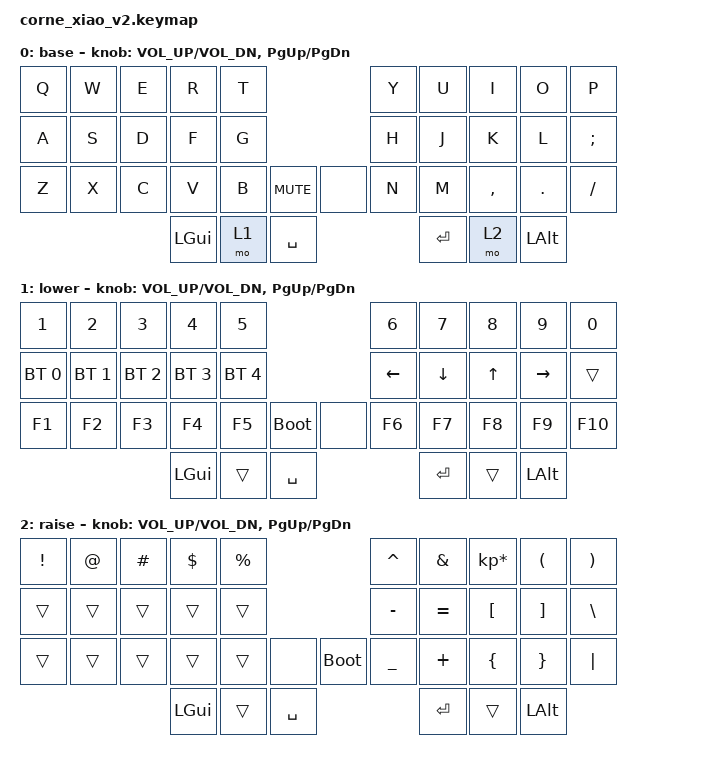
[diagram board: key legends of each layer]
#include <behaviors.dtsi>
#include <dt-bindings/zmk/keys.h>
#include <dt-bindings/zmk/bt.h>

/ {
    combos {
        compatible = "zmk,combos";
        combo_studio_unlock {
            timeout-ms = <50>;
            key-positions = <1 2>;
            bindings = <&studio_unlock>;
        };
    };
};

/ {
    chosen {
            zmk,physical-layout = &corne_xiao_5col_layout;
    };

    keymap {
        compatible = "zmk,keymap";

        default_layer {
            display-name = "base";
            sensor-bindings = <&inc_dec_kp C_VOL_UP C_VOL_DN &inc_dec_kp PG_UP PG_DN>;

// -------------------------------------------------------------------------------------------------
// |  TAB |  Q  |  W  |  E  |  R  |  T  |                    |  Y  |  U   |  I  |  O  |  P  | BKSP |
// | CTRL |  A  |  S  |  D  |  F  |  G  |                    |  H  |  J   |  K  |  L  |  ;  |  '   |
// | SHFT |  Z  |  X  |  C  |  V  |  B  |  MUTE  |  |        |  N  |  M   |  ,  |  .  |  /  | ESC  |
//                    | GUI | LWR | SPC |                    | ENT | RSE  | ALT |
            bindings = <
 &kp Q &kp W &kp E    &kp R &kp T                      &kp Y   &kp U &kp I     &kp O   &kp P    
 &kp A &kp S &kp D    &kp F &kp G                      &kp H   &kp J &kp K     &kp L   &kp SEMI 
 &kp Z &kp X &kp C    &kp V &kp B     &kp C_MUTE &none &kp N   &kp M &kp COMMA &kp DOT &kp FSLH 
                      &kp LGUI &mo 1 &kp SPACE                  &kp RET &mo 2 &kp LALT
            >;
        };

        lower_layer {
            display-name = "lower";
            sensor-bindings = <&inc_dec_kp C_VOL_UP C_VOL_DN &inc_dec_kp PG_UP PG_DN>;

// ------------------------------------------------------------------------------------------------
// |  TAB |  1  |  2  |  3  |  4  |  5  |                    |  6  |  7  |  8  |  9  |  0  | BKSP |
// | BTCLR| BT1 | BT2 | BT3 | BT4 | BT5 |                    | LFT | DWN |  UP | RGT |     |  F12 |
// | SHFT | F1  | F2  | F3  | F4  | F5  |  boot  |  |        |  F6 | F7  | F8  | F9  | F10 |  F11 |
//                    | GUI |     | SPC |                    | ENT |     | ALT |
            bindings = <
    &kp N1       &kp N2       &kp N3       &kp N4       &kp N5                         &kp N6   &kp N7   &kp N8 &kp N9    &kp N0 
 &bt BT_SEL 0 &bt BT_SEL 1 &bt BT_SEL 2 &bt BT_SEL 3 &bt BT_SEL 4                   &kp LEFT &kp DOWN &kp UP &kp RIGHT &trans  
  &kp F1       &kp F2       &kp F3       &kp F4       &kp F5       &bootloader &none &kp F6   &kp F7   &kp F8 &kp F9    &kp F10 
                                     &kp LGUI     &trans       &kp SPACE                      &kp RET  &trans   &kp LALT
            >;
        };

        raise_layer {
            display-name = "raise";
            sensor-bindings = <&inc_dec_kp C_VOL_UP C_VOL_DN &inc_dec_kp PG_UP PG_DN>;

// ------------------------------------------------------------------------------------------------
// |  TAB |  !  |  @  |  #  |  $  |  %  |                    |  ^  |  &  |  *  |  (  |  )  | BKSP |
// | CTRL |     |     |     |     |     |                    |  -  |  =  |  [  |  ]  |  \  |  `   |
// | SHFT |     |     |     |     |     |        |  |  boot  |  _  |  +  |  {  |  }  | "|" |  ~   |
//                    | GUI |     | SPC |                    | ENT |     | ALT |
            bindings = <
 &kp EXCL &kp AT &kp HASH &kp DLLR &kp PRCNT                   &kp CARET &kp AMPS  &kp KP_MULTIPLY &kp LPAR &kp RPAR
&trans   &trans &trans   &trans   &trans                      &kp MINUS &kp EQUAL &kp LBKT        &kp RBKT &kp BSLH 
 &trans   &trans &trans   &trans   &trans    &none &bootloader &kp UNDER &kp PLUS  &kp LBRC        &kp RBRC &kp PIPE 
                          &kp LGUI &trans   &kp SPACE                   &kp RET   &trans    &kp LALT
            >;
        };

        extra1 {
            display-name = "extra1";
            status = "reserved";
        };

        extra2 {
            display-name = "extra2";
            status = "reserved";
        };
    };
};
